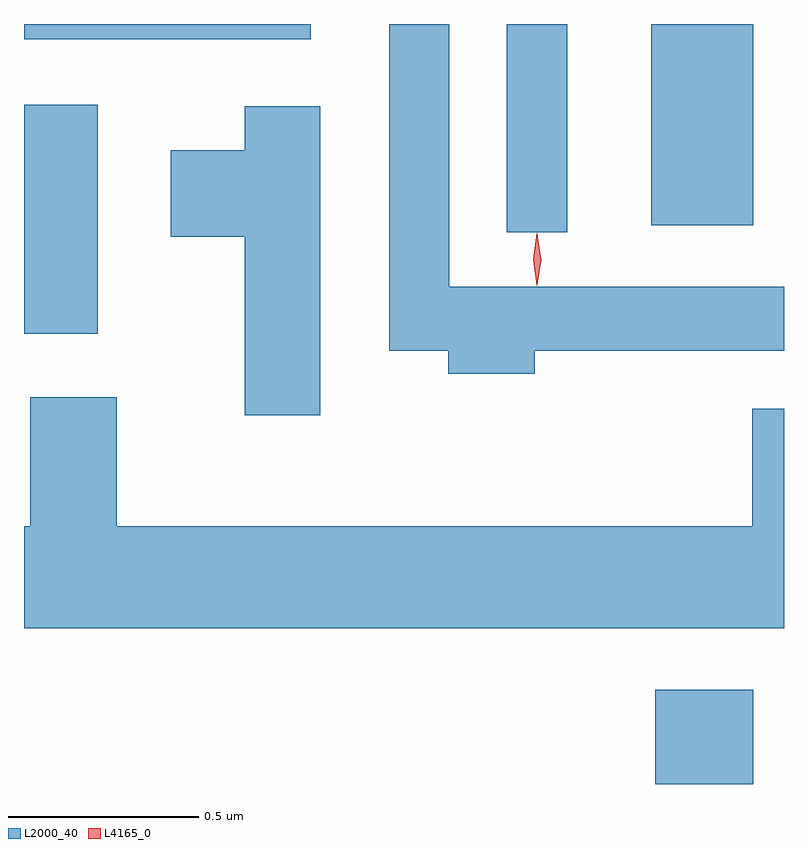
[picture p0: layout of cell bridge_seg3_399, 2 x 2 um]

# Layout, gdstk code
import gdstk
lib = gdstk.Library(unit=1e-6, precision=1e-09)
def R(c, l, rs):  # rectangles x0, y0, x1, y1
    for r in rs: c.add(gdstk.rectangle(r[:2], r[2:], *l))
def P(c, l, *ps):  # polygons
    for p in ps: c.add(gdstk.Polygon(p, *l))
L2000_40 = (2000, 40)
L4165_0 = (4165, 0)

bridge_seg3_399 = lib.new_cell('bridge_seg3_399')
R(bridge_seg3_399, L2000_40, [(566.396,1170.006,566.654,1170.254), (564.735,1171.191,564.929,1171.794), (566.006,1171.458,566.164,1172.006), (566.386,1171.476,566.654,1172.006), (564.735,1171.966,565.489,1172.006)])
P(bridge_seg3_399, L2000_40, [(566.079,1171.146),(566.735,1171.146),(566.735,1171.314),(565.854,1171.314),(565.854,1172.006),(565.696,1172.006),(565.696,1171.146),(565.851,1171.146),(565.851,1171.086),(566.079,1171.086)],
  [(565.514,1171.789),(565.316,1171.789),(565.316,1171.674),(565.121,1171.674),(565.121,1171.446),(565.316,1171.446),(565.316,1170.976),(565.514,1170.976)],
  [(564.751,1171.024),(564.751,1170.684),(564.735,1170.684),(564.735,1170.416),(566.735,1170.416),(566.735,1170.994),(566.651,1170.994),(566.651,1170.684),(564.979,1170.684),(564.979,1171.024)])
P(bridge_seg3_399, L4165_0, [(566.086,1171.32),(566.086,1171.32),(566.076,1171.386),(566.085,1171.452),(566.086,1171.453),(566.086,1171.452),(566.096,1171.386),(566.086,1171.32)],
  [(566.085,1171.317),(566.084,1171.318),(566.075,1171.387),(566.084,1171.456),(566.085,1171.456),(566.086,1171.456),(566.095,1171.387),(566.086,1171.318)])

lib.write_gds('bridge_seg3_399.gds')
